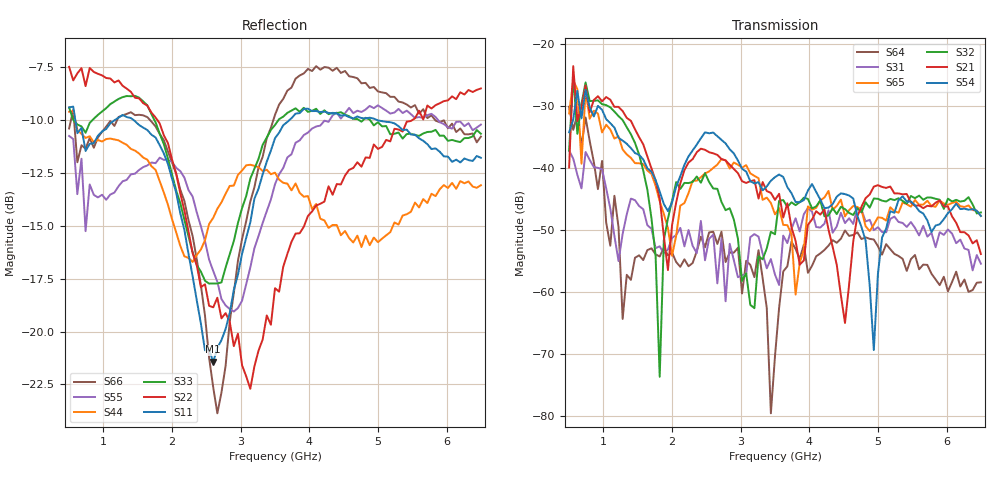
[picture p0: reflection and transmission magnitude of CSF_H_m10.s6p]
!Keysight Technologies,M9804A,MY58100912,A.14.10.03
!Date: Thursday, April 27, 2023 10:28:33
!Correction: S11(C  6-Port  )
!S12(C  6-Port  )
!S13(C  6-Port  )
!S14(C  6-Port  )
!S15(C  6-Port  )
!S16(C  6-Port  )
!S21(C  6-Port  )
!S22(C  6-Port  )
!S23(C  6-Port  )
!S24(C  6-Port  )
!S25(C  6-Port  )
!S26(C  6-Port  )
!S31(C  6-Port  )
!S32(C  6-Port  )
!S33(C  6-Port  )
!S34(C  6-Port  )
!S35(C  6-Port  )
!S36(C  6-Port  )
!S41(C  6-Port  )
!S42(C  6-Port  )
!S43(C  6-Port  )
!S44(C  6-Port  )
!S45(C  6-Port  )
!S46(C  6-Port  )
!S51(C  6-Port  )
!S52(C  6-Port  )
!S53(C  6-Port  )
!S54(C  6-Port  )
!S55(C  6-Port  )
!S56(C  6-Port  )
!S61(C  6-Port  )
!S62(C  6-Port  )
!S63(C  6-Port  )
!S64(C  6-Port  )
!S65(C  6-Port  )
!S66(C  6-Port  )
!S6P File: Measurement: :
# Hz S  RI  R 50
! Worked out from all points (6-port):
!   101 points, 500 MHz to 6.5 GHz, reference 50 ohm
!   strongest paths, dB at 500 MHz, 2 GHz, 3.5 GHz, 5 GHz, 6.5 GHz:
!     S54: -34.2, -45.5, -41.4, -57.0, -47.7
!     S21: -39.9, -49.2, -45.1, -42.7, -53.8
!     S32: -37.1, -45.2, -50.6, -44.9, -47.1
!     S65: -31.1, -54.1, -47.4, -47.9, -47.7
!     S31: -37.1, -51.2, -57.1, -49.5, -55.4
!     S64: -30.1, -53.6, -70.3, -52.6, -58.4
!   lowest |S11| = -21.4 dB at 2.6 GHz (marker M1), VSWR 1.19, Z = 42.5 + j2.19 ohm
!   |S11| at or under -10 dB: 589.9 MHz to 1.17 GHz (580.3 MHz wide, 65.9 % of centre); 1.435 GHz to 3.714 GHz (2.279 GHz wide, 88.5 % of centre); 4.981 GHz to end of sweep
